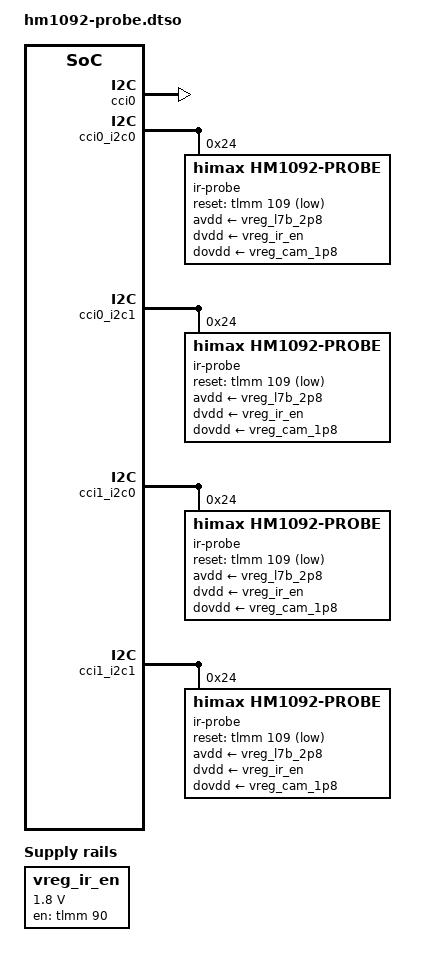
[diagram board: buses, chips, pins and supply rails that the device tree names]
// SPDX-License-Identifier: GPL-2.0
/*
 * Dell Latitude 7455: read-only presence test for the HM1092 IR sensor.
 * Wiring from Dell's Windows resource file CAMI_RES_QRD.bin:
 *   power enable  GPIO 90 (high = on)
 *   reset         GPIO 109 (active low)
 *   clock         CAM_CC_MCLK0 at 24 MHz, out on GPIO 96 (cam_mclk)
 *   I2C address   0x24 (0x48 8-bit, from SCFG_AUX_QRD.bin)
 * The bus is unknown, so a test node sits on all four camera I2C buses.
 * Supplies other than GPIO 90 are guesses taken from the colour camera.
 */
/dts-v1/;
/plugin/;

&{/} {
	vreg_ir_en: regulator-ir-cam-en {
		compatible = "regulator-fixed";
		regulator-name = "VREG_IR_CAM_EN";
		regulator-min-microvolt = <1800000>;
		regulator-max-microvolt = <1800000>;
		/* tlmm 90, GPIO_ACTIVE_HIGH */
		gpio = <&tlmm 90 0>;
		enable-active-high;
		startup-delay-us = <1000>;
		pinctrl-names = "default";
		/* The pins stay set while the regulator exists, whichever node probes. */
		pinctrl-0 = <&ir_cam_en_default>, <&ir_cam_default>;
	};
};

&tlmm {
	ir_cam_en_default: ir-cam-en-default-state {
		pins = "gpio90";
		function = "gpio";
		drive-strength = <2>;
		bias-disable;
	};

	ir_cam_default: ir-cam-default-state {
		mclk-pins {
			pins = "gpio96";
			function = "cam_mclk";
			drive-strength = <16>;
			bias-disable;
		};

		reset-n-pins {
			pins = "gpio109";
			function = "gpio";
			drive-strength = <2>;
			bias-disable;
		};
	};
};

&cci0 {
	status = "okay";
};

&cci0_i2c0 {
	#address-cells = <1>;
	#size-cells = <0>;

	ir-probe@24 {
		compatible = "himax,hm1092-probe";
		reg = <0x24>;
		/* CAM_CC_MCLK0_CLK = 71 */
		clocks = <&camcc 71>;
		/* tlmm 109, GPIO_ACTIVE_LOW */
		reset-gpios = <&tlmm 109 1>;
		avdd-supply = <&vreg_l7b_2p8>;
		dvdd-supply = <&vreg_ir_en>;
		dovdd-supply = <&vreg_cam_1p8>;
	};
};

&cci0_i2c1 {
	#address-cells = <1>;
	#size-cells = <0>;

	ir-probe@24 {
		compatible = "himax,hm1092-probe";
		reg = <0x24>;
		clocks = <&camcc 71>;
		reset-gpios = <&tlmm 109 1>;
		avdd-supply = <&vreg_l7b_2p8>;
		dvdd-supply = <&vreg_ir_en>;
		dovdd-supply = <&vreg_cam_1p8>;
	};
};

&cci1_i2c0 {
	#address-cells = <1>;
	#size-cells = <0>;

	ir-probe@24 {
		compatible = "himax,hm1092-probe";
		reg = <0x24>;
		clocks = <&camcc 71>;
		reset-gpios = <&tlmm 109 1>;
		avdd-supply = <&vreg_l7b_2p8>;
		dvdd-supply = <&vreg_ir_en>;
		dovdd-supply = <&vreg_cam_1p8>;
	};
};

&cci1_i2c1 {
	ir-probe@24 {
		compatible = "himax,hm1092-probe";
		reg = <0x24>;
		clocks = <&camcc 71>;
		reset-gpios = <&tlmm 109 1>;
		avdd-supply = <&vreg_l7b_2p8>;
		dvdd-supply = <&vreg_ir_en>;
		dovdd-supply = <&vreg_cam_1p8>;
	};
};
